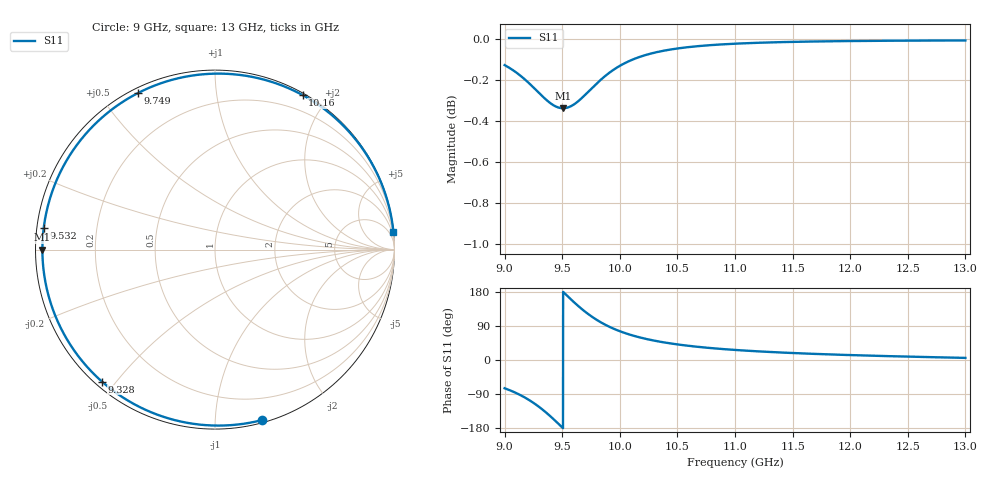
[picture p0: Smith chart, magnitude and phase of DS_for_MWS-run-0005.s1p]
! TOUCHSTONE file generated by CST DESIGN STUDIO
! Date and time: Tue Feb  4 13:45:13 2025
! Project name: C:\Work\MatlabApps\UnitCellOptimizationMatlab\CST\unitcell.cst
! Tree item: Tasks\Sweep1\SPara1\S-Parameters
! Header version: 2024
! Port assignment regex: !\s*Touchstone port\s*([0-9]+)\s*=\s*(CST MWS port|CST DES external port|CST DES block port)\s*(.+)\s* \(\"(.*)\"\)(\s*mode\s*([0-9]+))?.*
! Touchstone port assignment:
! Touchstone port 1 = CST DES external port 1 ("")
# GHz S MA R 50
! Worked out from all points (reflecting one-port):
!   4001 points, 9 GHz to 13 GHz, reference 50 ohm
!   lowest |S11| = -0.3 dB at 9.507 GHz (marker M1), VSWR 51.34, Z = 0.974 - j0.0214 ohm
!   phase of S11 starts at -75 deg and turns -280 deg over the sweep
!   S11 on the Smith chart (normalised r, x): 9 GHz: 0.02, -1.31; 9.328 GHz: 0.02, -0.46; 9.532 GHz: 0.02, +0.06; 9.749 GHz: 0.02, +0.62; 10.16 GHz: 0.02, +1.72; 13 GHz: 0, +21
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9  0.9853 -74.5
9.087  0.9819 -85.3
9.19  0.9766 -101.5
9.262  0.9723 -115.5
9.328  0.9683 -130.5
9.374  0.9657 -142.2
9.422  0.9635 -155.3
9.462  0.9623 -166.8
9.5  0.9618 -177.9
9.507  0.9618 -180.0
9.532  0.9619 172.7
9.586  0.9632 157.1
9.646  0.966 140.7
9.697  0.9689 127.9
9.749  0.9721 116.1
9.801  0.9753 105.6
9.858  0.9785 95.6
9.928  0.982 85.0
10  0.9849 76.0
10.162  0.9896 60.5
10.316  0.9924 50.1
10.5  0.9945 41.1
10.722  0.996 33.4
11  0.9972 26.5
11.5  0.9982 18.4
12  0.9987 13.0
12.5  0.9989 8.9
13  0.999 5.6
